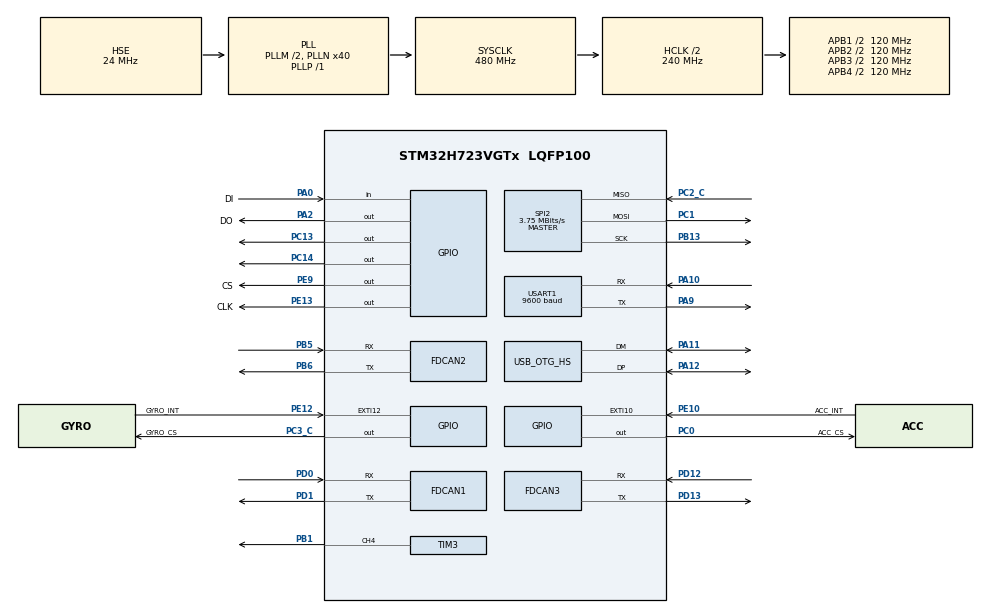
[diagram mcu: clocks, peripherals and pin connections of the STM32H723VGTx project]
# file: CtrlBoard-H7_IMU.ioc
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Dma.Request0=SPI2_RX
Dma.Request1=SPI2_TX
Dma.Request2=USART1_RX
Dma.Request3=USART1_TX
Dma.SPI2_RX.0.Direction=DMA_PERIPH_TO_MEMORY
Dma.SPI2_RX.0.EventEnable=DISABLE
Dma.SPI2_RX.0.FIFOMode=DMA_FIFOMODE_DISABLE
Dma.SPI2_RX.0.Instance=DMA1_Stream0
Dma.SPI2_RX.0.MemDataAlignment=DMA_MDATAALIGN_BYTE
Dma.SPI2_RX.0.MemInc=DMA_MINC_ENABLE
Dma.SPI2_RX.0.Mode=DMA_NORMAL
Dma.SPI2_RX.0.PeriphDataAlignment=DMA_PDATAALIGN_BYTE
Dma.SPI2_RX.0.PeriphInc=DMA_PINC_DISABLE
Dma.SPI2_RX.0.Polarity=HAL_DMAMUX_REQ_GEN_RISING
Dma.SPI2_RX.0.Priority=DMA_PRIORITY_VERY_HIGH
Dma.SPI2_RX.0.RequestNumber=1
Dma.SPI2_RX.0.SignalID=NONE
Dma.SPI2_RX.0.SyncEnable=DISABLE
Dma.SPI2_RX.0.SyncPolarity=HAL_DMAMUX_SYNC_NO_EVENT
Dma.SPI2_RX.0.SyncRequestNumber=1
Dma.SPI2_RX.0.SyncSignalID=NONE
Dma.SPI2_TX.1.Direction=DMA_MEMORY_TO_PERIPH
Dma.SPI2_TX.1.EventEnable=DISABLE
Dma.SPI2_TX.1.FIFOMode=DMA_FIFOMODE_DISABLE
Dma.SPI2_TX.1.Instance=DMA1_Stream1
Dma.SPI2_TX.1.MemDataAlignment=DMA_MDATAALIGN_BYTE
Dma.SPI2_TX.1.MemInc=DMA_MINC_ENABLE
Dma.SPI2_TX.1.Mode=DMA_NORMAL
Dma.SPI2_TX.1.PeriphDataAlignment=DMA_PDATAALIGN_BYTE
Dma.SPI2_TX.1.PeriphInc=DMA_PINC_DISABLE
Dma.SPI2_TX.1.Polarity=HAL_DMAMUX_REQ_GEN_RISING
Dma.SPI2_TX.1.Priority=DMA_PRIORITY_HIGH
Dma.SPI2_TX.1.RequestNumber=1
Dma.SPI2_TX.1.SignalID=NONE
Dma.SPI2_TX.1.SyncEnable=DISABLE
Dma.SPI2_TX.1.SyncPolarity=HAL_DMAMUX_SYNC_NO_EVENT
Dma.SPI2_TX.1.SyncRequestNumber=1
Dma.SPI2_TX.1.SyncSignalID=NONE
Dma.USART1_RX.2.Direction=DMA_PERIPH_TO_MEMORY
Dma.USART1_RX.2.EventEnable=DISABLE
Dma.USART1_RX.2.FIFOMode=DMA_FIFOMODE_DISABLE
Dma.USART1_RX.2.Instance=DMA1_Stream2
Dma.USART1_RX.2.MemDataAlignment=DMA_MDATAALIGN_BYTE
Dma.USART1_RX.2.MemInc=DMA_MINC_ENABLE
Dma.USART1_RX.2.Mode=DMA_NORMAL
Dma.USART1_RX.2.PeriphDataAlignment=DMA_PDATAALIGN_BYTE
Dma.USART1_RX.2.PeriphInc=DMA_PINC_DISABLE
Dma.USART1_RX.2.Polarity=HAL_DMAMUX_REQ_GEN_RISING
Dma.USART1_RX.2.Priority=DMA_PRIORITY_LOW
Dma.USART1_RX.2.RequestNumber=1
Dma.USART1_RX.2.SignalID=NONE
Dma.USART1_RX.2.SyncEnable=DISABLE
Dma.USART1_RX.2.SyncPolarity=HAL_DMAMUX_SYNC_NO_EVENT
Dma.USART1_RX.2.SyncRequestNumber=1
Dma.USART1_RX.2.SyncSignalID=NONE
Dma.USART1_TX.3.Direction=DMA_MEMORY_TO_PERIPH
Dma.USART1_TX.3.EventEnable=DISABLE
Dma.USART1_TX.3.FIFOMode=DMA_FIFOMODE_DISABLE
Dma.USART1_TX.3.Instance=DMA1_Stream3
Dma.USART1_TX.3.MemDataAlignment=DMA_MDATAALIGN_BYTE
Dma.USART1_TX.3.MemInc=DMA_MINC_ENABLE
Dma.USART1_TX.3.Mode=DMA_NORMAL
Dma.USART1_TX.3.PeriphDataAlignment=DMA_PDATAALIGN_BYTE
Dma.USART1_TX.3.PeriphInc=DMA_PINC_DISABLE
Dma.USART1_TX.3.Polarity=HAL_DMAMUX_REQ_GEN_RISING
Dma.USART1_TX.3.Priority=DMA_PRIORITY_LOW
Dma.USART1_TX.3.RequestNumber=1
Dma.USART1_TX.3.SignalID=NONE
Dma.USART1_TX.3.SyncEnable=DISABLE
Dma.USART1_TX.3.SyncPolarity=HAL_DMAMUX_SYNC_NO_EVENT
Dma.USART1_TX.3.SyncRequestNumber=1
Dma.USART1_TX.3.SyncSignalID=NONE
FDCAN1.CalculateBaudRateNominal=1000000
FDCAN1.CalculateTimeBitNominal=1000
FDCAN1.CalculateTimeQuantumNominal=40.0
FDCAN1.DataPrescaler=4
FDCAN1.DataTimeSeg1=19
FDCAN1.DataTimeSeg2=5
FDCAN1.ExtFiltersNbr=5
FDCAN1.NominalPrescaler=4
FDCAN1.NominalTimeSeg1=19
FDCAN1.NominalTimeSeg2=5
FDCAN1.RxFifo0ElmtSize=FDCAN_DATA_BYTES_24
FDCAN1.RxFifo0ElmtsNbr=4
FDCAN1.RxFifo1ElmtSize=FDCAN_DATA_BYTES_24
FDCAN1.StdFiltersNbr=5
FDCAN1.TxElmtSize=FDCAN_DATA_BYTES_24
FDCAN1.TxFifoQueueElmtsNbr=8
FDCAN2.CalculateBaudRateNominal=1000000
FDCAN2.CalculateTimeBitNominal=1000
FDCAN2.CalculateTimeQuantumNominal=50.0
FDCAN2.DataPrescaler=5
FDCAN2.DataTimeSeg1=14
FDCAN2.DataTimeSeg2=5
FDCAN2.ExtFiltersNbr=5
FDCAN2.MessageRAMOffset=854
FDCAN2.NominalPrescaler=5
FDCAN2.NominalTimeSeg1=14
FDCAN2.NominalTimeSeg2=5
FDCAN2.RxFifo1ElmtSize=FDCAN_DATA_BYTES_24
FDCAN2.RxFifo1ElmtsNbr=4
FDCAN2.StdFiltersNbr=5
FDCAN2.TxElmtSize=FDCAN_DATA_BYTES_16
FDCAN2.TxFifoQueueElmtsNbr=4
FDCAN3.CalculateBaudRateNominal=1000000
FDCAN3.CalculateTimeBitNominal=1000
FDCAN3.CalculateTimeQuantumNominal=50.0
FDCAN3.DataPrescaler=5
FDCAN3.DataTimeSeg1=14
FDCAN3.DataTimeSeg2=5
FDCAN3.ExtFiltersNbr=5
FDCAN3.MessageRAMOffset=1709
FDCAN3.NominalPrescaler=5
FDCAN3.NominalTimeSeg1=14
FDCAN3.NominalTimeSeg2=5
FDCAN3.RxFifo0ElmtsNbr=2
FDCAN3.StdFiltersNbr=5
FDCAN3.TxFifoQueueElmtsNbr=3
FREERTOS.MEMORY_ALLOCATION=0
FREERTOS.Tasks01=defaultTask,0,128,StartDefaultTask,Default,NULL,Dynamic,NULL,NULL;INS_TASK,3,512,INS_Task,Default,NULL,Dynamic,NULL,NULL;CHASSISR_TASK,1,512,ChassisR_Task,Default,NULL,Dynamic,NULL,NULL
FREERTOS.configENABLE_FPU=1
FREERTOS.configTOTAL_HEAP_SIZE=30720
Mcu.Family=STM32H7
Mcu.Name=STM32H723VGTx
Mcu.Package=LQFP100
NVIC.DMA1_Stream0_IRQn=true\:6\:0\:true\:false\:true\:true\:false\:true\:true
NVIC.DMA1_Stream1_IRQn=true\:6\:0\:true\:false\:true\:true\:false\:true\:true
NVIC.DMA1_Stream2_IRQn=true\:5\:0\:false\:false\:true\:true\:false\:true\:true
NVIC.DMA1_Stream3_IRQn=true\:5\:0\:false\:false\:true\:true\:false\:true\:true
NVIC.FDCAN1_IT0_IRQn=true\:6\:0\:true\:false\:true\:true\:true\:true\:true
NVIC.FDCAN2_IT0_IRQn=true\:5\:0\:true\:false\:true\:true\:true\:true\:true
NVIC.FDCAN3_IT0_IRQn=true\:5\:0\:false\:false\:true\:true\:true\:true\:true
NVIC.OTG_HS_IRQn=true\:5\:0\:false\:false\:true\:true\:true\:true\:true
NVIC.PriorityGroup=NVIC_PRIORITYGROUP_4
NVIC.SPI2_IRQn=true\:5\:0\:true\:false\:true\:true\:false\:true\:true
NVIC.TIM2_IRQn=true\:15\:0\:false\:false\:true\:false\:false\:true\:true
NVIC.TimeBase=TIM2_IRQn
NVIC.TimeBaseIP=TIM2
NVIC.USART1_IRQn=true\:5\:0\:false\:false\:true\:true\:true\:true\:true
PA0.GPIO_Label=DI
PA0.GPIO_PuPd=GPIO_PULLUP
PA0.Signal=GPIO_Input
PA10.Mode=Asynchronous
PA10.Signal=USART1_RX
PA11.Mode=Device_Only_FS
PA11.Signal=USB_OTG_HS_DM
PA12.Mode=Device_Only_FS
PA12.Signal=USB_OTG_HS_DP
PA13(JTMS/SWDIO).Mode=Serial_Wire
PA13(JTMS/SWDIO).Signal=DEBUG_JTMS-SWDIO
PA14(JTCK/SWCLK).Mode=Serial_Wire
PA14(JTCK/SWCLK).Signal=DEBUG_JTCK-SWCLK
PA2.GPIO_Label=DO
PA2.GPIO_PuPd=GPIO_PULLUP
PA2.GPIO_Speed=GPIO_SPEED_FREQ_VERY_HIGH
PA2.PinState=GPIO_PIN_SET
PA2.Signal=GPIO_Output
PA9.Mode=Asynchronous
PA9.Signal=USART1_TX
PB1.Signal=S_TIM3_CH4
PB13.GPIO_Speed=GPIO_SPEED_FREQ_VERY_HIGH
PB13.Mode=Full_Duplex_Master
PB13.Signal=SPI2_SCK
PB5.Mode=FDCAN_Activate
PB5.Signal=FDCAN2_RX
PB6.Mode=FDCAN_Activate
PB6.Signal=FDCAN2_TX
PC0.GPIO_Label=ACC_CS
PC0.GPIO_Speed=GPIO_SPEED_FREQ_VERY_HIGH
PC0.PinState=GPIO_PIN_SET
PC0.Signal=GPIO_Output
PC1.GPIO_Speed=GPIO_SPEED_FREQ_VERY_HIGH
PC1.Mode=Full_Duplex_Master
PC1.Signal=SPI2_MOSI
PC13.Signal=GPIO_Output
PC14-OSC32_IN.Signal=GPIO_Output
PC2_C.GPIO_Speed=GPIO_SPEED_FREQ_VERY_HIGH
PC2_C.Mode=Full_Duplex_Master
PC2_C.Signal=SPI2_MISO
PC3_C.GPIO_Label=GYRO_CS
PC3_C.GPIO_Speed=GPIO_SPEED_FREQ_VERY_HIGH
PC3_C.PinState=GPIO_PIN_SET
PC3_C.Signal=GPIO_Output
PD0.Mode=FDCAN_Activate
PD0.Signal=FDCAN1_RX
PD1.Mode=FDCAN_Activate
PD1.Signal=FDCAN1_TX
PD12.Mode=FDCAN_Activate
PD12.Signal=FDCAN3_RX
PD13.Mode=FDCAN_Activate
PD13.Signal=FDCAN3_TX
PE10.GPIO_Label=ACC_INT
PE10.Signal=GPXTI10
PE12.GPIO_Label=GYRO_INT
PE12.Signal=GPXTI12
PE13.GPIO_Label=CLK
PE13.GPIO_PuPd=GPIO_PULLUP
PE13.GPIO_Speed=GPIO_SPEED_FREQ_VERY_HIGH
PE13.PinState=GPIO_PIN_SET
PE13.Signal=GPIO_Output
PE9.GPIO_Label=CS
PE9.GPIO_PuPd=GPIO_PULLUP
PE9.GPIO_Speed=GPIO_SPEED_FREQ_VERY_HIGH
PE9.PinState=GPIO_PIN_SET
PE9.Signal=GPIO_Output
PH0-OSC_IN.Mode=HSE-External-Oscillator
PH0-OSC_IN.Signal=RCC_OSC_IN
PH1-OSC_OUT.Mode=HSE-External-Oscillator
PH1-OSC_OUT.Signal=RCC_OSC_OUT
ProjectManager.HeapSize=0x200
ProjectManager.StackSize=0x800
ProjectManager.TargetToolchain=MDK-ARM V5.27
RCC.ADCFreq_Value=100000000
RCC.APB1Freq_Value=120000000
RCC.APB2Freq_Value=120000000
RCC.APB3Freq_Value=120000000
RCC.APB4Freq_Value=120000000
RCC.CortexFreq_Value=480000000
RCC.D1PPRE=RCC_APB3_DIV2
RCC.D2PPRE1=RCC_APB1_DIV2
RCC.D2PPRE2=RCC_APB2_DIV2
RCC.D3PPRE=RCC_APB4_DIV2
RCC.DIVM1=2
RCC.DIVM2=24
RCC.DIVN1=40
RCC.DIVN2=200
RCC.DIVP1=1
RCC.DIVQ1=4
RCC.FDCANCLockSelection=RCC_FDCANCLKSOURCE_PLL2
RCC.HCLKFreq_Value=240000000
RCC.HPRE=RCC_HCLK_DIV2
RCC.HSE_VALUE=24000000
RCC.PLL2FRACN=0
RCC.PLL3FRACN=0
RCC.PLLFRACN=0
RCC.PLLSourceVirtual=RCC_PLLSOURCE_HSE
RCC.SYSCLKFreq_VALUE=480000000
RCC.SYSCLKSource=RCC_SYSCLKSOURCE_PLLCLK
RCC.USBCLockSelection=RCC_USBCLKSOURCE_HSI48
RCC.USBFreq_Value=48000000
SH.S_TIM3_CH4.0=TIM3_CH4,PWM Generation4 CH4
SPI2.BaudRatePrescaler=SPI_BAUDRATEPRESCALER_32
SPI2.CLKPhase=SPI_PHASE_2EDGE
SPI2.CLKPolarity=SPI_POLARITY_HIGH
SPI2.CalculateBaudRate=3.75 MBits/s
SPI2.DataSize=SPI_DATASIZE_8BIT
SPI2.Direction=SPI_DIRECTION_2LINES
SPI2.Mode=SPI_MODE_MASTER
SPI2.VirtualType=VM_MASTER
TIM3.AutoReloadPreload=TIM_AUTORELOAD_PRELOAD_ENABLE
TIM3.Channel-PWM\ Generation4\ CH4=TIM_CHANNEL_4
TIM3.Period=10000-1
TIM3.Prescaler=24-1
USART1.BaudRate=9600
USART1.VirtualMode-Asynchronous=VM_ASYNC
USB_DEVICE.CLASS_NAME_HS=CDC
USB_DEVICE.VirtualMode=Cdc
USB_DEVICE.VirtualModeHS=Cdc_HS
USB_OTG_HS.VirtualMode-Device_Only_FS=Device_Only_FS
VP_FREERTOS_VS_CMSIS_V1.Mode=CMSIS_V1
VP_MEMORYMAP_VS_MEMORYMAP.Mode=CurAppReg
VP_SYS_VS_tim2.Mode=TIM2
VP_USB_DEVICE_VS_USB_DEVICE_CDC_HS.Mode=CDC_HS
board=custom

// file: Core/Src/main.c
/* USER CODE BEGIN Header */
/**
  ******************************************************************************
  * @file           : main.c
  * @brief          : Main program body
  ******************************************************************************
  * @attention
  *
  * Copyright (c) 2024 STMicroelectronics.
  * All rights reserved.
  *
  * This software is licensed under terms that can be found in the LICENSE file
  * in the root directory of this software component.
  * If no LICENSE file comes with this software, it is provided AS-IS.
  *
  ******************************************************************************
  */
/* USER CODE END Header */
#include "main.h"
#include "cmsis_os.h"
#include "dma.h"
#include "fdcan.h"
#include "memorymap.h"
#include "spi.h"
#include "tim.h"
#include "usart.h"
#include "usb_device.h"
#include "gpio.h"

/* USER CODE BEGIN Includes */
#include "BMI088driver.h"
#include "kalman_filter.h"
#include "mahony_filter.h"
#include "bsp_dwt.h"
#include "BMI088Middleware.h"
#include "can_bsp.h"
#include "bsp_usart1.h"
/* USER CODE END Includes */

/* USER CODE BEGIN PTD */
extern rev_data_t rev_data;
/* USER CODE END PTD */

void SystemClock_Config(void);
void PeriphCommonClock_Config(void);
void MX_FREERTOS_Init(void);

int main(void)
{

  /* MCU Configuration--------------------------------------------------------*/

  /* Reset of all peripherals, Initializes the Flash interface and the Systick. */
  HAL_Init();

  /* USER CODE BEGIN Init */
//06 01 00 00 00 00 00 00 00 00 00 00 00 00 80 3F
  /* USER CODE END Init */

  /* Configure the system clock */
  SystemClock_Config();

  /* Configure the peripherals common clocks */
  PeriphCommonClock_Config();

  /* Initialize all configured peripherals */
  MX_GPIO_Init();
  MX_DMA_Init();
  MX_SPI2_Init();
  MX_FDCAN1_Init();
  MX_FDCAN2_Init();
  MX_TIM3_Init();
  MX_FDCAN3_Init();
  MX_USART1_UART_Init();
  /* USER CODE BEGIN 2 */
	DWT_Init(480);

    /* BMI088初始化 */
  while (BMI088_init(&hspi2, 0) != BMI088_NO_ERROR)
	{
	  ;
	}

  HAL_UART_Receive_IT(&huart1,rev_data.rx, 8);//接收

	Power_OUT1_ON;//imu初始化完成，可控电源打开，led灯亮
	Power_OUT2_ON;

  FDCAN1_Config();//can过滤器初始化
	FDCAN2_Config();
  /* USER CODE END 2 */

  /* Call init function for freertos objects (in cmsis_os2.c) */
  MX_FREERTOS_Init();

  /* Start scheduler */
  osKernelStart();

  /* We should never get here as control is now taken by the scheduler */

  /* Infinite loop */
  while (1)
  {

  }
}

void SystemClock_Config(void)
{
  RCC_OscInitTypeDef RCC_OscInitStruct = {0};
  RCC_ClkInitTypeDef RCC_ClkInitStruct = {0};

  /** Supply configuration update enable
  */
  HAL_PWREx_ConfigSupply(PWR_LDO_SUPPLY);

  /** Configure the main internal regulator output voltage
  */
  __HAL_PWR_VOLTAGESCALING_CONFIG(PWR_REGULATOR_VOLTAGE_SCALE0);

  while(!__HAL_PWR_GET_FLAG(PWR_FLAG_VOSRDY)) {}

  /** Initializes the RCC Oscillators according to the specified parameters
  * in the RCC_OscInitTypeDef structure.
  */
  RCC_OscInitStruct.OscillatorType = RCC_OSCILLATORTYPE_HSI48|RCC_OSCILLATORTYPE_HSE;
  RCC_OscInitStruct.HSEState = RCC_HSE_ON;
  RCC_OscInitStruct.HSI48State = RCC_HSI48_ON;
  RCC_OscInitStruct.PLL.PLLState = RCC_PLL_ON;
  RCC_OscInitStruct.PLL.PLLSource = RCC_PLLSOURCE_HSE;
  RCC_OscInitStruct.PLL.PLLM = 2;
  RCC_OscInitStruct.PLL.PLLN = 40;
  RCC_OscInitStruct.PLL.PLLP = 1;
  RCC_OscInitStruct.PLL.PLLQ = 4;
  RCC_OscInitStruct.PLL.PLLR = 2;
  RCC_OscInitStruct.PLL.PLLRGE = RCC_PLL1VCIRANGE_3;
  RCC_OscInitStruct.PLL.PLLVCOSEL = RCC_PLL1VCOWIDE;
  RCC_OscInitStruct.PLL.PLLFRACN = 0;
  if (HAL_RCC_OscConfig(&RCC_OscInitStruct) != HAL_OK)
  {
    Error_Handler();
  }

  /** Initializes the CPU, AHB and APB buses clocks
  */
  RCC_ClkInitStruct.ClockType = RCC_CLOCKTYPE_HCLK|RCC_CLOCKTYPE_SYSCLK
                              |RCC_CLOCKTYPE_PCLK1|RCC_CLOCKTYPE_PCLK2
                              |RCC_CLOCKTYPE_D3PCLK1|RCC_CLOCKTYPE_D1PCLK1;
  RCC_ClkInitStruct.SYSCLKSource = RCC_SYSCLKSOURCE_PLLCLK;
  RCC_ClkInitStruct.SYSCLKDivider = RCC_SYSCLK_DIV1;
  RCC_ClkInitStruct.AHBCLKDivider = RCC_HCLK_DIV2;
  RCC_ClkInitStruct.APB3CLKDivider = RCC_APB3_DIV2;
  RCC_ClkInitStruct.APB1CLKDivider = RCC_APB1_DIV2;
  RCC_ClkInitStruct.APB2CLKDivider = RCC_APB2_DIV2;
  RCC_ClkInitStruct.APB4CLKDivider = RCC_APB4_DIV2;

  if (HAL_RCC_ClockConfig(&RCC_ClkInitStruct, FLASH_LATENCY_3) != HAL_OK)
  {
    Error_Handler();
  }
}

void PeriphCommonClock_Config(void)
{
  RCC_PeriphCLKInitTypeDef PeriphClkInitStruct = {0};

  /** Initializes the peripherals clock
  */
  PeriphClkInitStruct.PeriphClockSelection = RCC_PERIPHCLK_FDCAN;
  PeriphClkInitStruct.PLL2.PLL2M = 24;
  PeriphClkInitStruct.PLL2.PLL2N = 200;
  PeriphClkInitStruct.PLL2.PLL2P = 2;
  PeriphClkInitStruct.PLL2.PLL2Q = 2;
  PeriphClkInitStruct.PLL2.PLL2R = 2;
  PeriphClkInitStruct.PLL2.PLL2RGE = RCC_PLL2VCIRANGE_0;
  PeriphClkInitStruct.PLL2.PLL2VCOSEL = RCC_PLL2VCOMEDIUM;
  PeriphClkInitStruct.PLL2.PLL2FRACN = 0;
  PeriphClkInitStruct.FdcanClockSelection = RCC_FDCANCLKSOURCE_PLL2;
  if (HAL_RCCEx_PeriphCLKConfig(&PeriphClkInitStruct) != HAL_OK)
  {
    Error_Handler();
  }
}

void HAL_TIM_PeriodElapsedCallback(TIM_HandleTypeDef *htim)
{
  if (htim->Instance == TIM2) {
    HAL_IncTick();
  }
}

void Error_Handler(void)
{
  __disable_irq();
  while (1)
  {
  }
}
